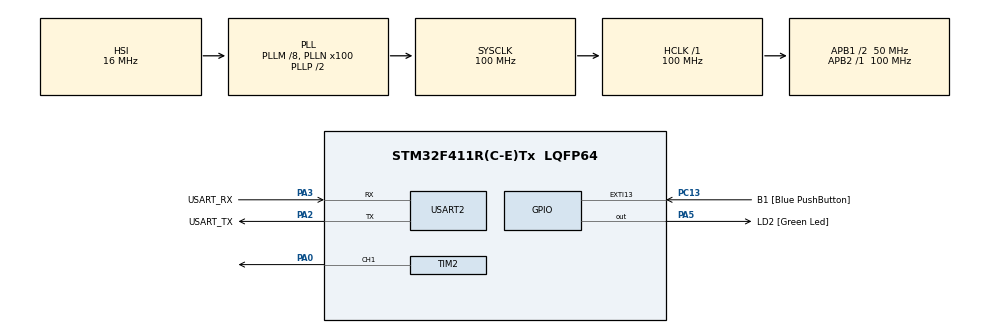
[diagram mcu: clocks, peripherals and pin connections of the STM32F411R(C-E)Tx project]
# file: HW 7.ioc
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Dma.Request0=TIM2_CH1
Dma.TIM2_CH1.0.Direction=DMA_MEMORY_TO_PERIPH
Dma.TIM2_CH1.0.FIFOMode=DMA_FIFOMODE_DISABLE
Dma.TIM2_CH1.0.Instance=DMA1_Stream5
Dma.TIM2_CH1.0.MemDataAlignment=DMA_MDATAALIGN_WORD
Dma.TIM2_CH1.0.MemInc=DMA_MINC_ENABLE
Dma.TIM2_CH1.0.Mode=DMA_NORMAL
Dma.TIM2_CH1.0.PeriphDataAlignment=DMA_PDATAALIGN_WORD
Dma.TIM2_CH1.0.PeriphInc=DMA_PINC_DISABLE
Dma.TIM2_CH1.0.Priority=DMA_PRIORITY_LOW
Mcu.Family=STM32F4
Mcu.Name=STM32F411R(C-E)Tx
Mcu.Package=LQFP64
NVIC.DMA1_Stream5_IRQn=true\:0\:0\:false\:false\:true\:false\:true\:true
NVIC.PriorityGroup=NVIC_PRIORITYGROUP_0
PA0-WKUP.Signal=S_TIM2_CH1_ETR
PA13.GPIO_Label=TMS
PA13.Mode=Serial_Wire
PA13.Signal=SYS_JTMS-SWDIO
PA14.GPIO_Label=TCK
PA14.Mode=Serial_Wire
PA14.Signal=SYS_JTCK-SWCLK
PA2.GPIO_Label=USART_TX
PA2.Mode=Asynchronous
PA2.Signal=USART2_TX
PA3.GPIO_Label=USART_RX
PA3.Mode=Asynchronous
PA3.Signal=USART2_RX
PA5.GPIO_Label=LD2 [Green Led]
PA5.Signal=GPIO_Output
PB3.GPIO_Label=SWO
PB3.Signal=SYS_JTDO-SWO
PC13-ANTI_TAMP.GPIO_Label=B1 [Blue PushButton]
PC13-ANTI_TAMP.GPIO_ModeDefaultEXTI=GPIO_MODE_IT_FALLING
PC13-ANTI_TAMP.Signal=GPXTI13
PC14-OSC32_IN.Mode=LSE-External-Oscillator
PC14-OSC32_IN.Signal=RCC_OSC32_IN
PC15-OSC32_OUT.Mode=LSE-External-Oscillator
PC15-OSC32_OUT.Signal=RCC_OSC32_OUT
PH0\ -\ OSC_IN.Mode=HSE-External-Clock-Source
PH0\ -\ OSC_IN.Signal=RCC_OSC_IN
PH1\ -\ OSC_OUT.Mode=HSE-External-Clock-Source
PH1\ -\ OSC_OUT.Signal=RCC_OSC_OUT
ProjectManager.HeapSize=0x200
ProjectManager.StackSize=0x400
ProjectManager.TargetToolchain=STM32CubeIDE
RCC.48MHZClocksFreq_Value=50000000
RCC.AHBFreq_Value=100000000
RCC.APB1CLKDivider=RCC_HCLK_DIV2
RCC.APB1Freq_Value=50000000
RCC.APB1TimFreq_Value=100000000
RCC.APB2Freq_Value=100000000
RCC.APB2TimFreq_Value=100000000
RCC.CortexFreq_Value=100000000
RCC.FLatency-AdvancedSettings=FLASH_LATENCY_3
RCC.HCLKFreq_Value=100000000
RCC.HSE_VALUE=8000000
RCC.HSI_VALUE=16000000
RCC.PLLM=8
RCC.PLLN=100
RCC.SYSCLKFreq_VALUE=100000000
RCC.SYSCLKSource=RCC_SYSCLKSOURCE_PLLCLK
RCC.VCOOutputFreq_Value=200000000
SH.S_TIM2_CH1_ETR.0=TIM2_CH1,PWM Generation1 CH1
TIM2.AutoReloadPreload=TIM_AUTORELOAD_PRELOAD_ENABLE
TIM2.Channel-PWM\ Generation1\ CH1=TIM_CHANNEL_1
TIM2.Period=1000-1
TIM2.Prescaler=1000-1
USART2.VirtualMode=VM_ASYNC
VP_TIM2_VS_ClockSourceINT.Mode=Internal
board=NUCLEO-F411RE

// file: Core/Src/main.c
/* USER CODE BEGIN Header */
/**
  ******************************************************************************
  * @file           : main.c
  * @brief          : Main program body
  ******************************************************************************
  * @attention
  *
  * Copyright (c) 2026 STMicroelectronics.
  * All rights reserved.
  *
  * This software is licensed under terms that can be found in the LICENSE file
  * in the root directory of this software component.
  * If no LICENSE file comes with this software, it is provided AS-IS.
  *
  ******************************************************************************
  */
/* USER CODE END Header */
#include "main.h"

TIM_HandleTypeDef htim2;
DMA_HandleTypeDef hdma_tim2_ch1;

UART_HandleTypeDef huart2;

/* USER CODE BEGIN PV */
// =====================================================================
/* Массив значений скважности (синус, 100 значений) */
uint32_t ssin[100] = {
      0,   32,   63,   95,  127,  158,  189,  220,  251,  282,
    312,  342,  372,  401,  430,  458,  486,  514,  541,  567,
    593,  618,  643,  667,  690,  713,  735,  756,  776,  796,
    815,  833,  850,  866,  881,  896,  910,  922,  934,  945,
    955,  964,  972,  979,  985,  990,  994,  997,  999,  999,
    999,  999,  997,  994,  990,  985,  979,  972,  964,  955,
    945,  934,  922,  910,  896,  881,  866,  850,  833,  815,
    796,  776,  756,  735,  713,  690,  667,  643,  618,  593,
    567,  541,  514,  486,  458,  430,  401,  372,  342,  312,
    282,  251,  220,  189,  158,  127,   95,   63,   32,    0
};
// =====================================================================
/* USER CODE END PV */

void SystemClock_Config(void);
static void MX_GPIO_Init(void);
static void MX_DMA_Init(void);
static void MX_USART2_UART_Init(void);
static void MX_TIM2_Init(void);

int main(void)
{

  /* MCU Configuration--------------------------------------------------------*/

  /* Reset of all peripherals, Initializes the Flash interface and the Systick. */
  HAL_Init();

  /* Configure the system clock */
  SystemClock_Config();

  /* Initialize all configured peripherals */
  MX_GPIO_Init();
  MX_DMA_Init();
  MX_USART2_UART_Init();
  MX_TIM2_Init();
  /* USER CODE BEGIN 2 */
  // =====================================================================
  /* Запуск PWM с DMA */
     HAL_TIM_PWM_Start_DMA(&htim2, TIM_CHANNEL_1, (uint32_t*)ssin, 100);
  // =====================================================================
  /* USER CODE END 2 */

  /* Infinite loop */
  /* USER CODE BEGIN WHILE */
  while (1)
  {

	  // =====================================================================
	  /* Пустой цикл, всё работает в прерываниях */
	  // =====================================================================

    /* USER CODE END WHILE */

  }
}

void SystemClock_Config(void)
{
  RCC_OscInitTypeDef RCC_OscInitStruct = {0};
  RCC_ClkInitTypeDef RCC_ClkInitStruct = {0};

  /** Configure the main internal regulator output voltage
  */
  __HAL_RCC_PWR_CLK_ENABLE();
  __HAL_PWR_VOLTAGESCALING_CONFIG(PWR_REGULATOR_VOLTAGE_SCALE1);

  /** Initializes the RCC Oscillators according to the specified parameters
  * in the RCC_OscInitTypeDef structure.
  */
  RCC_OscInitStruct.OscillatorType = RCC_OSCILLATORTYPE_HSI;
  RCC_OscInitStruct.HSIState = RCC_HSI_ON;
  RCC_OscInitStruct.HSICalibrationValue = RCC_HSICALIBRATION_DEFAULT;
  RCC_OscInitStruct.PLL.PLLState = RCC_PLL_ON;
  RCC_OscInitStruct.PLL.PLLSource = RCC_PLLSOURCE_HSI;
  RCC_OscInitStruct.PLL.PLLM = 8;
  RCC_OscInitStruct.PLL.PLLN = 100;
  RCC_OscInitStruct.PLL.PLLP = RCC_PLLP_DIV2;
  RCC_OscInitStruct.PLL.PLLQ = 4;
  if (HAL_RCC_OscConfig(&RCC_OscInitStruct) != HAL_OK)
  {
    Error_Handler();
  }

  /** Initializes the CPU, AHB and APB buses clocks
  */
  RCC_ClkInitStruct.ClockType = RCC_CLOCKTYPE_HCLK|RCC_CLOCKTYPE_SYSCLK
                              |RCC_CLOCKTYPE_PCLK1|RCC_CLOCKTYPE_PCLK2;
  RCC_ClkInitStruct.SYSCLKSource = RCC_SYSCLKSOURCE_PLLCLK;
  RCC_ClkInitStruct.AHBCLKDivider = RCC_SYSCLK_DIV1;
  RCC_ClkInitStruct.APB1CLKDivider = RCC_HCLK_DIV2;
  RCC_ClkInitStruct.APB2CLKDivider = RCC_HCLK_DIV1;

  if (HAL_RCC_ClockConfig(&RCC_ClkInitStruct, FLASH_LATENCY_3) != HAL_OK)
  {
    Error_Handler();
  }
}

static void MX_TIM2_Init(void)
{

  TIM_ClockConfigTypeDef sClockSourceConfig = {0};
  TIM_MasterConfigTypeDef sMasterConfig = {0};
  TIM_OC_InitTypeDef sConfigOC = {0};

  htim2.Instance = TIM2;
  htim2.Init.Prescaler = 1000-1;
  htim2.Init.CounterMode = TIM_COUNTERMODE_UP;
  htim2.Init.Period = 1000-1;
  htim2.Init.ClockDivision = TIM_CLOCKDIVISION_DIV1;
  htim2.Init.AutoReloadPreload = TIM_AUTORELOAD_PRELOAD_ENABLE;
  if (HAL_TIM_Base_Init(&htim2) != HAL_OK)
  {
    Error_Handler();
  }
  sClockSourceConfig.ClockSource = TIM_CLOCKSOURCE_INTERNAL;
  if (HAL_TIM_ConfigClockSource(&htim2, &sClockSourceConfig) != HAL_OK)
  {
    Error_Handler();
  }
  if (HAL_TIM_PWM_Init(&htim2) != HAL_OK)
  {
    Error_Handler();
  }
  sMasterConfig.MasterOutputTrigger = TIM_TRGO_RESET;
  sMasterConfig.MasterSlaveMode = TIM_MASTERSLAVEMODE_DISABLE;
  if (HAL_TIMEx_MasterConfigSynchronization(&htim2, &sMasterConfig) != HAL_OK)
  {
    Error_Handler();
  }
  sConfigOC.OCMode = TIM_OCMODE_PWM1;
  sConfigOC.Pulse = 0;
  sConfigOC.OCPolarity = TIM_OCPOLARITY_HIGH;
  sConfigOC.OCFastMode = TIM_OCFAST_DISABLE;
  if (HAL_TIM_PWM_ConfigChannel(&htim2, &sConfigOC, TIM_CHANNEL_1) != HAL_OK)
  {
    Error_Handler();
  }
  HAL_TIM_MspPostInit(&htim2);

}

static void MX_USART2_UART_Init(void)
{

  huart2.Instance = USART2;
  huart2.Init.BaudRate = 115200;
  huart2.Init.WordLength = UART_WORDLENGTH_8B;
  huart2.Init.StopBits = UART_STOPBITS_1;
  huart2.Init.Parity = UART_PARITY_NONE;
  huart2.Init.Mode = UART_MODE_TX_RX;
  huart2.Init.HwFlowCtl = UART_HWCONTROL_NONE;
  huart2.Init.OverSampling = UART_OVERSAMPLING_16;
  if (HAL_UART_Init(&huart2) != HAL_OK)
  {
    Error_Handler();
  }

}

static void MX_DMA_Init(void)
{

  /* DMA controller clock enable */
  __HAL_RCC_DMA1_CLK_ENABLE();

  /* DMA interrupt init */
  /* DMA1_Stream5_IRQn interrupt configuration */
  HAL_NVIC_SetPriority(DMA1_Stream5_IRQn, 0, 0);
  HAL_NVIC_EnableIRQ(DMA1_Stream5_IRQn);

}

static void MX_GPIO_Init(void)
{
  GPIO_InitTypeDef GPIO_InitStruct = {0};

  /* GPIO Ports Clock Enable */
  __HAL_RCC_GPIOC_CLK_ENABLE();
  __HAL_RCC_GPIOH_CLK_ENABLE();
  __HAL_RCC_GPIOA_CLK_ENABLE();
  __HAL_RCC_GPIOB_CLK_ENABLE();

  /*Configure GPIO pin Output Level */
  HAL_GPIO_WritePin(LD2_GPIO_Port, LD2_Pin, GPIO_PIN_RESET);

  /*Configure GPIO pin : B1_Pin */
  GPIO_InitStruct.Pin = B1_Pin;
  GPIO_InitStruct.Mode = GPIO_MODE_IT_FALLING;
  GPIO_InitStruct.Pull = GPIO_NOPULL;
  HAL_GPIO_Init(B1_GPIO_Port, &GPIO_InitStruct);

  /*Configure GPIO pin : LD2_Pin */
  GPIO_InitStruct.Pin = LD2_Pin;
  GPIO_InitStruct.Mode = GPIO_MODE_OUTPUT_PP;
  GPIO_InitStruct.Pull = GPIO_NOPULL;
  GPIO_InitStruct.Speed = GPIO_SPEED_FREQ_LOW;
  HAL_GPIO_Init(LD2_GPIO_Port, &GPIO_InitStruct);

}

/* USER CODE BEGIN 4 */
// ====================================================================
void HAL_TIM_PWM_PulseFinishedCallback(TIM_HandleTypeDef *htim)
{
    if (htim->Instance == TIM2)
    {
        /* Перезапуск DMA для непрерывного цикла */
        HAL_TIM_PWM_Start_DMA(&htim2, TIM_CHANNEL_1, (uint32_t*)ssin, 100);
    }
}

// ====================================================================
/* USER CODE END 4 */

void Error_Handler(void)
{
  __disable_irq();
  while (1)
  {
  }
}
